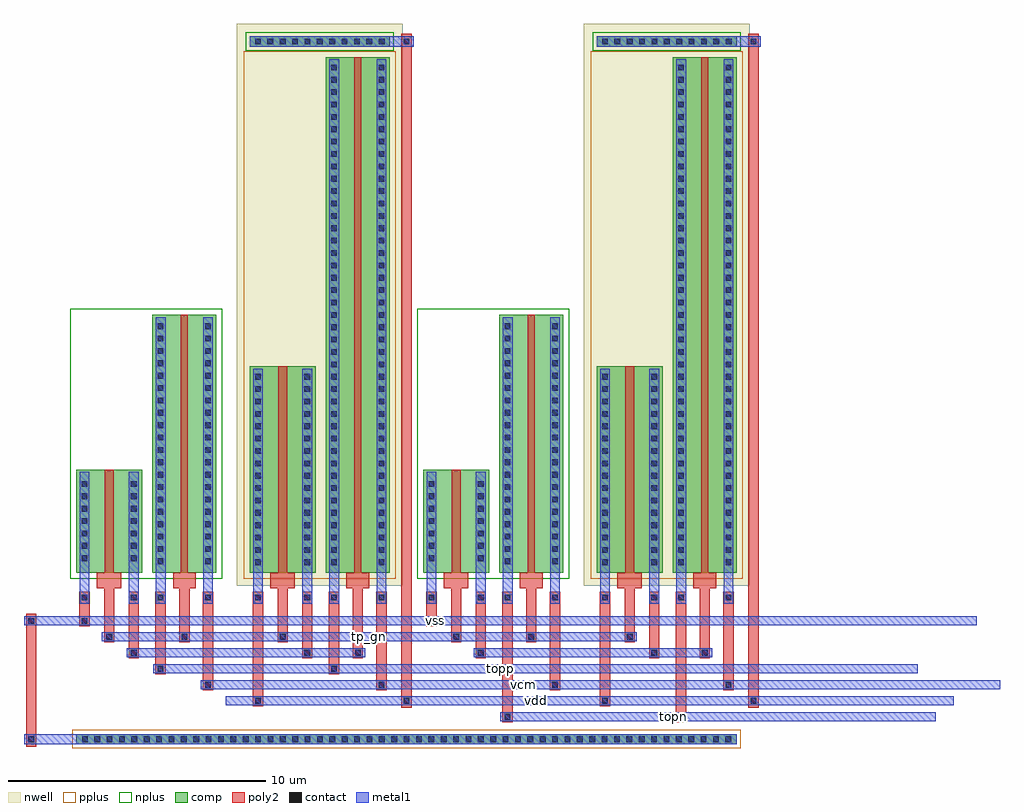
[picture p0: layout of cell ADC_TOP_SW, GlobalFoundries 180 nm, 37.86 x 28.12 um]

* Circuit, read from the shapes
.subckt ADC_TOP_SW topn topp tp_gn vcm vdd vss
XM1 n1 tp_gn vss vss nfet_03v3 w=4u l=0.35u
XM2 vcm tp_gn topp vss nfet_03v3 w=10u l=0.28u
XM3 n2 tp_gn vss vss nfet_03v3 w=4u l=0.35u
XM4 vcm tp_gn topn vss nfet_03v3 w=10u l=0.28u
XM5 n1 tp_gn vdd vdd pfet_03v3 w=8u l=0.35u
XM6 vcm n1 topp vdd pfet_03v3 w=20u l=0.28u
XM7 n2 tp_gn vdd vdd pfet_03v3 w=8u l=0.35u
XM8 vcm n2 topn vdd pfet_03v3 w=20u l=0.28u
.ends

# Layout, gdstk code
import gdstk
lib = gdstk.Library(unit=1e-6, precision=1e-09)
def R(c, l, rs):  # rectangles x0, y0, x1, y1
    for r in rs: c.add(gdstk.rectangle(r[:2], r[2:], *l))
def A(c, l, x, y, w, h, nx, ny, dx, dy):  # array of equal rectangles
    R(c, l, [(x+i*dx, y+j*dy, x+i*dx+w, y+j*dy+h) for i in range(nx) for j in range(ny)])
nwell = (21, 0)
comp = (22, 0)
poly2 = (30, 0)
pplus = (31, 0)
nplus = (32, 0)
contact = (33, 0)
metal1 = (34, 0)

adc_top_sw = lib.new_cell('ADC_TOP_SW')
R(adc_top_sw, nwell, [(6.23,-0.5,12.66,21.3), (19.69,-0.5,26.12,21.3)])
R(adc_top_sw, comp, [(0,-6.66,25.62,-6.26), (0,0,2.55,4), (2.95,0,5.43,10), (6.73,0,9.28,8), (9.68,0,12.16,20), (13.46,0,16.01,4), (16.41,0,18.89,10), (20.19,0,22.74,8), (23.14,0,25.62,20), (6.73,20.4,12.16,20.8), (20.19,20.4,25.62,20.8)])
A(adc_top_sw, poly2, 4.91, -4.56, 0.4, 3.36, 4, 1, 6.73, 0)
A(adc_top_sw, poly2, 0.8, -0.6, 0.95, 0.6, 4, 1, 6.73, 0)
A(adc_top_sw, poly2, 3.75, -0.6, 0.88, 0.6, 4, 1, 6.73, 0)
R(adc_top_sw, poly2, [(-1.95,-6.76,-1.55,-1.6), (16.53,-5.8,16.93,-1.2), (23.26,-5.8,23.66,-1.2), (12.61,-5.24,13.01,20.9), (26.07,-5.24,26.47,20.9), (6.85,-5.18,7.25,-1.2), (20.31,-5.18,20.71,-1.2), (3.07,-3.94,3.47,-1.2), (9.8,-3.94,10.2,-1.2), (2.03,-3.32,2.43,-1.2), (8.76,-3.32,9.16,-1.2), (10.72,-3.32,11.12,-1.2), (15.49,-3.32,15.89,-1.2), (22.22,-3.32,22.62,-1.2), (24.18,-3.32,24.58,-1.2), (1.075,-2.7,1.475,-1.2), (3.99,-2.7,4.39,-1.2), (7.805,-2.7,8.205,-1.2), (14.535,-2.7,14.935,-1.2), (17.45,-2.7,17.85,-1.2), (21.265,-2.7,21.665,-1.2), (0.12,-2.08,0.52,-1.2), (13.58,-2.08,13.98,-1.2), (0.12,-1.2,0.52,-0.75), (1.075,-1.2,1.475,-0.6), (2.03,-1.2,2.43,-0.75), (3.07,-1.2,3.47,-0.75), (3.99,-1.2,4.39,-0.6), (4.91,-1.2,5.31,-0.75), (6.85,-1.2,7.25,-0.75), (7.805,-1.2,8.205,-0.6), (8.76,-1.2,9.16,-0.75), (9.8,-1.2,10.2,-0.75), (10.72,-1.2,11.12,-0.6), (11.64,-1.2,12.04,-0.75), (13.58,-1.2,13.98,-0.75), (14.535,-1.2,14.935,-0.6), (15.49,-1.2,15.89,-0.75), (16.53,-1.2,16.93,-0.75), (17.45,-1.2,17.85,-0.6), (18.37,-1.2,18.77,-0.75), (20.31,-1.2,20.71,-0.75), (21.265,-1.2,21.665,-0.6), (22.22,-1.2,22.62,-0.75), (23.26,-1.2,23.66,-0.75), (24.18,-1.2,24.58,-0.6), (25.1,-1.2,25.5,-0.75), (1.1,0,1.45,4), (4.05,0,4.33,10), (7.83,0,8.18,8), (10.78,0,11.06,20), (14.56,0,14.91,4), (17.51,0,17.79,10), (21.29,0,21.64,8), (24.24,0,24.52,20)])
R(adc_top_sw, pplus, [(-0.16,-6.82,25.78,-6.1), (6.5,-0.23,12.39,20.23), (19.96,-0.23,25.85,20.23)])
R(adc_top_sw, nplus, [(-0.23,-0.23,5.66,10.23), (13.23,-0.23,19.12,10.23), (6.57,20.24,12.32,20.96), (20.03,20.24,25.78,20.96)])
A(adc_top_sw, contact, 0.22, -6.57, 0.22, 0.22, 53, 1, 0.48, 0)
A(adc_top_sw, contact, 5, -4.46, 0.22, 0.22, 4, 1, 6.73, 0)
A(adc_top_sw, contact, 6.94, 0.29, 0.22, 0.22, 1, 16, 0, 0.48)
A(adc_top_sw, contact, 8.85, 0.29, 0.22, 0.22, 1, 16, 0, 0.48)
A(adc_top_sw, contact, 9.89, 0.29, 0.22, 0.22, 1, 41, 0, 0.48)
A(adc_top_sw, contact, 11.73, 0.29, 0.22, 0.22, 1, 41, 0, 0.48)
A(adc_top_sw, contact, 20.4, 0.29, 0.22, 0.22, 1, 16, 0, 0.48)
A(adc_top_sw, contact, 22.31, 0.29, 0.22, 0.22, 1, 16, 0, 0.48)
A(adc_top_sw, contact, 23.35, 0.29, 0.22, 0.22, 1, 41, 0, 0.48)
A(adc_top_sw, contact, 25.19, 0.29, 0.22, 0.22, 1, 41, 0, 0.48)
A(adc_top_sw, contact, 3.16, 0.33, 0.22, 0.22, 1, 20, 0, 0.48)
A(adc_top_sw, contact, 5, 0.33, 0.22, 0.22, 1, 20, 0, 0.48)
A(adc_top_sw, contact, 16.62, 0.33, 0.22, 0.22, 1, 20, 0, 0.48)
A(adc_top_sw, contact, 18.46, 0.33, 0.22, 0.22, 1, 20, 0, 0.48)
A(adc_top_sw, contact, 0.21, 0.45, 0.22, 0.22, 1, 7, 0, 0.48)
A(adc_top_sw, contact, 2.12, 0.45, 0.22, 0.22, 1, 7, 0, 0.48)
A(adc_top_sw, contact, 13.67, 0.45, 0.22, 0.22, 1, 7, 0, 0.48)
A(adc_top_sw, contact, 15.58, 0.45, 0.22, 0.22, 1, 7, 0, 0.48)
A(adc_top_sw, contact, 6.935, 20.49, 0.22, 0.22, 11, 1, 0.48, 0)
A(adc_top_sw, contact, 20.395, 20.49, 0.22, 0.22, 11, 1, 0.48, 0)
R(adc_top_sw, contact, [(-1.86,-6.57,-1.64,-6.35), (16.62,-5.7,16.84,-5.48), (23.35,-5.7,23.57,-5.48), (6.94,-5.08,7.16,-4.86), (12.7,-5.08,12.92,-4.86), (20.4,-5.08,20.62,-4.86), (26.16,-5.08,26.38,-4.86), (3.16,-3.84,3.38,-3.62), (9.89,-3.84,10.11,-3.62), (2.12,-3.22,2.34,-3), (8.85,-3.22,9.07,-3), (10.81,-3.22,11.03,-3), (15.58,-3.22,15.8,-3), (22.31,-3.22,22.53,-3), (24.27,-3.22,24.49,-3), (1.165,-2.6,1.385,-2.38), (4.08,-2.6,4.3,-2.38), (7.895,-2.6,8.115,-2.38), (14.625,-2.6,14.845,-2.38), (17.54,-2.6,17.76,-2.38), (21.355,-2.6,21.575,-2.38), (-1.86,-1.98,-1.64,-1.76), (0.21,-1.98,0.43,-1.76), (13.67,-1.98,13.89,-1.76), (0.21,-1.08,0.43,-0.86), (2.12,-1.08,2.34,-0.86), (3.16,-1.08,3.38,-0.86), (5,-1.08,5.22,-0.86), (6.94,-1.08,7.16,-0.86), (8.85,-1.08,9.07,-0.86), (9.89,-1.08,10.11,-0.86), (11.73,-1.08,11.95,-0.86), (13.67,-1.08,13.89,-0.86), (15.58,-1.08,15.8,-0.86), (16.62,-1.08,16.84,-0.86), (18.46,-1.08,18.68,-0.86), (20.4,-1.08,20.62,-0.86), (22.31,-1.08,22.53,-0.86), (23.35,-1.08,23.57,-0.86), (25.19,-1.08,25.41,-0.86), (12.7,20.49,12.92,20.71), (26.16,20.49,26.38,20.71)])
R(adc_top_sw, metal1, [(-2.03,-6.66,25.62,-6.26), (16.45,-5.76,29.9,-5.42), (16.45,-5.76,33.33,-5.42), (5.8,-5.14,29.9,-4.8), (5.8,-5.14,34.03,-4.8), (4.83,-4.52,29.9,-4.18), (4.83,-4.52,35.83,-4.18), (2.99,-3.9,29.9,-3.56), (2.99,-3.9,32.63,-3.56), (1.95,-3.28,11.2,-2.94), (15.41,-3.28,24.66,-2.94), (0.995,-2.66,21.745,-2.32), (-2.03,-2.04,29.9,-1.7), (-2.03,-2.04,34.93,-1.7), (0.13,-1.2,0.51,0.09), (2.04,-1.2,2.42,0.09), (3.08,-1.2,3.46,0.09), (4.92,-1.2,5.3,0.09), (6.86,-1.2,7.24,0.09), (8.77,-1.2,9.15,0.09), (9.81,-1.2,10.19,0.09), (11.65,-1.2,12.03,0.09), (13.59,-1.2,13.97,0.09), (15.5,-1.2,15.88,0.09), (16.54,-1.2,16.92,0.09), (18.38,-1.2,18.76,0.09), (20.32,-1.2,20.7,0.09), (22.23,-1.2,22.61,0.09), (23.27,-1.2,23.65,0.09), (25.11,-1.2,25.49,0.09), (0.13,0.09,0.51,3.91), (2.04,0.09,2.42,3.91), (3.08,0.09,3.46,9.91), (4.92,0.09,5.3,9.91), (6.86,0.09,7.24,7.91), (8.77,0.09,9.15,7.91), (9.81,0.09,10.19,19.91), (11.65,0.09,12.03,19.91), (13.59,0.09,13.97,3.91), (15.5,0.09,15.88,3.91), (16.54,0.09,16.92,9.91), (18.38,0.09,18.76,9.91), (20.32,0.09,20.7,7.91), (22.23,0.09,22.61,7.91), (23.27,0.09,23.65,19.91), (25.11,0.09,25.49,19.91), (6.73,20.4,12.16,20.8), (6.73,20.4,13.09,20.8), (20.19,20.4,25.62,20.8), (20.19,20.4,26.55,20.8)])
adc_top_sw.add(gdstk.Label('vss', (13.935,-1.87), layer=34, texttype=10))
adc_top_sw.add(gdstk.Label('tp_gn', (11.37,-2.49), layer=34, texttype=10))
adc_top_sw.add(gdstk.Label('topp', (16.445,-3.73), layer=34, texttype=10))
adc_top_sw.add(gdstk.Label('vcm', (17.365,-4.35), layer=34, texttype=10))
adc_top_sw.add(gdstk.Label('vdd', (17.85,-4.97), layer=34, texttype=10))
adc_top_sw.add(gdstk.Label('topn', (23.175,-5.59), layer=34, texttype=10))

lib.write_gds('ADC_TOP_SW.gds')
